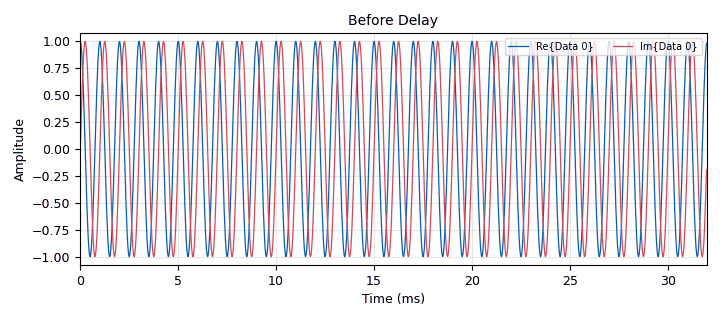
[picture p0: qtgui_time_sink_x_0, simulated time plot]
<?xml version='1.0' encoding='utf-8'?>
<?grc format='1' created='3.7.10'?>
<flow_graph>
<block>
<key>options</key>
<param><key>id</key><value>top_block</value></param>
<param><key>generate_options</key><value>qt_gui</value></param>
</block>
<block>
<key>variable</key>
<param><key>id</key><value>samp_rate</value></param>
<param><key>value</key><value>32000</value></param>
</block>
<block>
<key>analog_sig_source_x</key>
<param><key>id</key><value>analog_sig_source_x_0</value></param>
<param><key>amp</key><value>1</value></param>
<param><key>freq</key><value>1000</value></param>
<param><key>offset</key><value>0</value></param>
<param><key>type</key><value>complex</value></param>
<param><key>samp_rate</key><value>samp_rate</value></param>
<param><key>waveform</key><value>analog.GR_COS_WAVE</value></param>
</block>
<block>
<key>blocks_throttle</key>
<param><key>id</key><value>blocks_throttle_0</value></param>
<param><key>samples_per_second</key><value>samp_rate</value></param>
<param><key>type</key><value>complex</value></param>
</block>
<block>
<key>controlled_delay</key>
<param><key>id</key><value>controlled_delay_0</value></param>
<param><key>name</key><value>'a'</value></param>
<param><key>init_delay</key><value>0</value></param>
</block>
<block>
<key>qtgui_edit_box_msg</key>
<param><key>id</key><value>qtgui_edit_box_msg_0</value></param>
<param><key>key</key><value>a</value></param>
<param><key>type</key><value>int</value></param>
<param><key>value</key><value>0</value></param>
</block>
<block>
<key>qtgui_time_sink_x</key>
<param><key>id</key><value>qtgui_time_sink_x_0</value></param>
<param><key>gui_hint</key><value>:0,0,1,1</value></param>
<param><key>color1</key><value>"blue"</value></param>
<param><key>label1</key><value></value></param>
<param><key>color2</key><value>"red"</value></param>
<param><key>label2</key><value></value></param>
<param><key>name</key><value>Before Delay</value></param>
<param><key>size</key><value>1024</value></param>
<param><key>srate</key><value>samp_rate</value></param>
<param><key>type</key><value>complex</value></param>
</block>
<block>
<key>qtgui_time_sink_x</key>
<param><key>id</key><value>qtgui_time_sink_x_1</value></param>
<param><key>gui_hint</key><value>:1,0,1,1</value></param>
<param><key>color1</key><value>"blue"</value></param>
<param><key>label1</key><value></value></param>
<param><key>color2</key><value>"red"</value></param>
<param><key>label2</key><value></value></param>
<param><key>name</key><value>After Delay</value></param>
<param><key>size</key><value>1024</value></param>
<param><key>srate</key><value>samp_rate</value></param>
<param><key>type</key><value>complex</value></param>
</block>
<connection><source_block_id>analog_sig_source_x_0</source_block_id><sink_block_id>blocks_throttle_0</sink_block_id><source_key>0</source_key><sink_key>0</sink_key></connection>
<connection><source_block_id>blocks_throttle_0</source_block_id><sink_block_id>controlled_delay_0</sink_block_id><source_key>0</source_key><sink_key>0</sink_key></connection>
<connection><source_block_id>blocks_throttle_0</source_block_id><sink_block_id>qtgui_time_sink_x_0</sink_block_id><source_key>0</source_key><sink_key>0</sink_key></connection>
<connection><source_block_id>controlled_delay_0</source_block_id><sink_block_id>qtgui_time_sink_x_1</sink_block_id><source_key>0</source_key><sink_key>0</sink_key></connection>
<connection><source_block_id>qtgui_edit_box_msg_0</source_block_id><sink_block_id>controlled_delay_0</sink_block_id><source_key>msg</source_key><sink_key>command</sink_key></connection>
</flow_graph>
